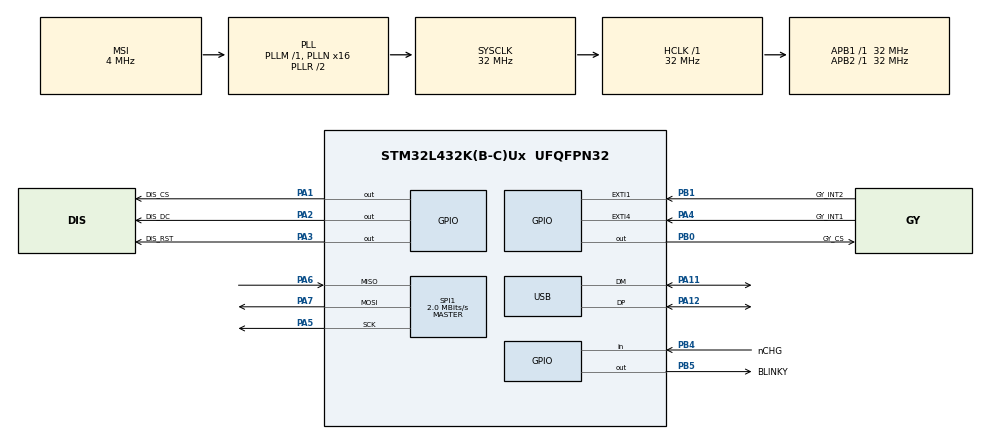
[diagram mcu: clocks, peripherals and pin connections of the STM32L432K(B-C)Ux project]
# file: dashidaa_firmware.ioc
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Dma.Request0=SPI1_RX
Dma.Request1=SPI1_TX
Dma.SPI1_RX.0.Direction=DMA_PERIPH_TO_MEMORY
Dma.SPI1_RX.0.Instance=DMA1_Channel2
Dma.SPI1_RX.0.MemDataAlignment=DMA_MDATAALIGN_BYTE
Dma.SPI1_RX.0.MemInc=DMA_MINC_ENABLE
Dma.SPI1_RX.0.Mode=DMA_NORMAL
Dma.SPI1_RX.0.PeriphDataAlignment=DMA_PDATAALIGN_BYTE
Dma.SPI1_RX.0.PeriphInc=DMA_PINC_DISABLE
Dma.SPI1_RX.0.Priority=DMA_PRIORITY_HIGH
Dma.SPI1_TX.1.Direction=DMA_MEMORY_TO_PERIPH
Dma.SPI1_TX.1.Instance=DMA1_Channel3
Dma.SPI1_TX.1.MemDataAlignment=DMA_MDATAALIGN_BYTE
Dma.SPI1_TX.1.MemInc=DMA_MINC_ENABLE
Dma.SPI1_TX.1.Mode=DMA_NORMAL
Dma.SPI1_TX.1.PeriphDataAlignment=DMA_PDATAALIGN_BYTE
Dma.SPI1_TX.1.PeriphInc=DMA_PINC_DISABLE
Dma.SPI1_TX.1.Priority=DMA_PRIORITY_HIGH
Mcu.Family=STM32L4
Mcu.Name=STM32L432K(B-C)Ux
Mcu.Package=UFQFPN32
NVIC.DMA1_Channel2_IRQn=true\:0\:0\:false\:false\:true\:false\:true\:true
NVIC.DMA1_Channel3_IRQn=true\:0\:0\:false\:false\:true\:false\:true\:true
NVIC.PriorityGroup=NVIC_PRIORITYGROUP_4
NVIC.USB_IRQn=true\:0\:0\:false\:false\:true\:false\:true\:true
PA1.GPIO_Label=DIS_CS
PA1.Signal=GPIO_Output
PA11.Mode=Device
PA11.Signal=USB_DM
PA12.Mode=Device
PA12.Signal=USB_DP
PA13\ (JTMS-SWDIO).Mode=Serial_Wire
PA13\ (JTMS-SWDIO).Signal=SYS_JTMS-SWDIO
PA14\ (JTCK-SWCLK).Mode=Serial_Wire
PA14\ (JTCK-SWCLK).Signal=SYS_JTCK-SWCLK
PA2.GPIO_Label=DIS_DC
PA2.Signal=GPIO_Output
PA3.GPIO_Label=DIS_RST
PA3.Signal=GPIO_Output
PA4.GPIO_Label=GY_INT1
PA4.Signal=GPXTI4
PA5.Mode=Full_Duplex_Master
PA5.Signal=SPI1_SCK
PA6.Mode=Full_Duplex_Master
PA6.Signal=SPI1_MISO
PA7.Mode=Full_Duplex_Master
PA7.Signal=SPI1_MOSI
PB0.GPIO_Label=GY_CS
PB0.Signal=GPIO_Output
PB1.GPIO_Label=GY_INT2
PB1.Signal=GPXTI1
PB4\ (NJTRST).GPIO_Label=nCHG
PB4\ (NJTRST).Signal=GPIO_Input
PB5.GPIO_Label=BLINKY
PB5.Signal=GPIO_Output
ProjectManager.HeapSize=0x200
ProjectManager.StackSize=0x400
ProjectManager.TargetToolchain=STM32CubeIDE
RCC.ADCFreq_Value=48000000
RCC.AHBFreq_Value=32000000
RCC.APB1Freq_Value=32000000
RCC.APB1TimFreq_Value=32000000
RCC.APB2Freq_Value=32000000
RCC.APB2TimFreq_Value=32000000
RCC.CK48CLockSelection=RCC_USBCLKSOURCE_HSI48
RCC.CodegenConfigPeriph=true
RCC.CortexFreq_Value=32000000
RCC.HCLKFreq_Value=32000000
RCC.HSE_VALUE=8000000
RCC.HSI48_VALUE=48000000
RCC.HSI_VALUE=16000000
RCC.LSE_VALUE=32768
RCC.MSI_VALUE=4000000
RCC.PLLN=16
RCC.PLLSAI1N=24
RCC.SYSCLKFreq_VALUE=32000000
RCC.SYSCLKSource=RCC_SYSCLKSOURCE_PLLCLK
RCC.USBFreq_Value=48000000
RCC.VCOOutputFreq_Value=64000000
SPI1.BaudRatePrescaler=SPI_BAUDRATEPRESCALER_16
SPI1.CLKPhase=SPI_PHASE_1EDGE
SPI1.CLKPolarity=SPI_POLARITY_LOW
SPI1.CalculateBaudRate=2.0 MBits/s
SPI1.DataSize=SPI_DATASIZE_8BIT
SPI1.Direction=SPI_DIRECTION_2LINES
SPI1.Mode=SPI_MODE_MASTER
SPI1.VirtualType=VM_MASTER
USB_DEVICE.CLASS_NAME_FS=CDC
USB_DEVICE.VirtualMode=Cdc
USB_DEVICE.VirtualModeFS=Cdc_FS
VP_TIM1_VS_ClockSourceINT.Mode=Internal
VP_USB_DEVICE_VS_USB_DEVICE_CDC_FS.Mode=CDC_FS
board=custom

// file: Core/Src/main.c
/* USER CODE BEGIN Header */
/**
  ******************************************************************************
  * @file           : main.c
  * @brief          : Main program body
  ******************************************************************************
  * @attention
  *
  * Copyright (c) 2025 STMicroelectronics.
  * All rights reserved.
  *
  * This software is licensed under terms that can be found in the LICENSE file
  * in the root directory of this software component.
  * If no LICENSE file comes with this software, it is provided AS-IS.
  *
  ******************************************************************************
  */
/* USER CODE END Header */
#include "main.h"
#include "usb_device.h"

/* USER CODE BEGIN PD */
#define ICM42760P_WHO_AM_I     0x75
#define ICM42760P_WHO_AM_I_VAL 0x67

#define GY_CS_LOW()		HAL_GPIO_WritePin(GY_CS_GPIO_Port,GY_CS_Pin , GPIO_PIN_RESET);
#define GY_CS_HIGH() 	HAL_GPIO_WritePin(GY_CS_GPIO_Port,GY_CS_Pin , GPIO_PIN_SET);

#define OLED_CS_LOW()   HAL_GPIO_WritePin(DIS_CS_GPIO_Port, DIS_CS_Pin, GPIO_PIN_RESET)
#define OLED_CS_HIGH()  HAL_GPIO_WritePin(DIS_CS_GPIO_Port, DIS_CS_Pin, GPIO_PIN_SET)
#define OLED_DC_LOW()   HAL_GPIO_WritePin(DIS_DC_GPIO_Port, DIS_DC_Pin, GPIO_PIN_RESET)
#define OLED_DC_HIGH()  HAL_GPIO_WritePin(DIS_DC_GPIO_Port, DIS_DC_Pin, GPIO_PIN_SET)
#define OLED_RESET_LOW() HAL_GPIO_WritePin(DIS_RST_GPIO_Port, DIS_RST_Pin, GPIO_PIN_RESET)
#define OLED_RESET_HIGH() HAL_GPIO_WritePin(DIS_RST_GPIO_Port, DIS_RST_Pin, GPIO_PIN_SET)

#define DISPLAY_WIDTH 128
#define DISPLAY_HEIGHT 128
/* USER CODE END PD */

SPI_HandleTypeDef hspi1;
DMA_HandleTypeDef hdma_spi1_rx;
DMA_HandleTypeDef hdma_spi1_tx;

TIM_HandleTypeDef htim1;

/* USER CODE BEGIN PV */
static uint16_t framebuffer[128*128];
uint8_t dma_done_flag;
/* USER CODE END PV */

void SystemClock_Config(void);
static void MX_GPIO_Init(void);
static void MX_DMA_Init(void);
static void MX_SPI1_Init(void);
static void MX_TIM1_Init(void);

/* USER CODE BEGIN 0 */

// IMU

static inline uint8_t icm_read(uint8_t reg){
    uint8_t txdata[2] = { reg | 0x80, 0x00};
    uint8_t rxdata[2];
    OLED_CS_LOW();
    GY_CS_LOW()
    dma_done_flag = 0;
    HAL_SPI_TransmitReceive_DMA(&hspi1, txdata, rxdata, 2);
    GY_CS_HIGH();
    return rxdata[1];
}

void check_icm(void){
    HAL_Delay(20); // wait for power-up
    char buffer[12];
    uint8_t id = icm_read(ICM42760P_WHO_AM_I);
    int len = snprintf(buffer, sizeof(buffer), "%d\r\n", id);
    USB_Print((uint8_t*)buffer);
}

// USB
void USB_Print(char *str) {
    CDC_Transmit_FS((uint8_t *)str, strlen(str));
}

// DISPLAY
void HAL_SPI_TxCpltCallback(SPI_HandleTypeDef *hspi) {
    if (hspi->Instance == SPI1) {
        // DMA done for SPI1 TX
        dma_done_flag = 1;
    }
}

void OLED_WriteReg(uint8_t cmd) {
    OLED_DC_LOW();
    OLED_CS_LOW();
    HAL_SPI_Transmit(&hspi1, &cmd, 1, HAL_MAX_DELAY);
    OLED_CS_HIGH();
}

void OLED_WriteData(uint8_t data) {
    OLED_DC_HIGH();
    OLED_CS_LOW();
    HAL_SPI_Transmit(&hspi1, &data, 1, HAL_MAX_DELAY);
    OLED_CS_HIGH();
}

void OLED_WriteDatas(uint8_t *data, uint16_t size) {
    OLED_DC_HIGH();
    OLED_CS_LOW();
    dma_done_flag = 0;
    HAL_SPI_Transmit_DMA(&hspi1, data, size);
    while (!dma_done_flag);
    OLED_CS_HIGH();
}

void OLED_Reset() {
    OLED_RESET_LOW();
    HAL_Delay(20);
    OLED_RESET_HIGH();
    HAL_Delay(20);
}

static void OLED_Init(void){
	OLED_Reset();
    OLED_WriteReg(0xfd);  // command lock
    OLED_WriteData(0x12);
    OLED_WriteReg(0xfd);  // command lock
    OLED_WriteData(0xB1);

    OLED_WriteReg(0xae);  // display off
    OLED_WriteReg(0xa4);  // Normal Display mode

    OLED_WriteReg(0x15);  //set column address
    OLED_WriteData(0x00);     //column address start 00
    OLED_WriteData(0x7f);     //column address end 127
    OLED_WriteReg(0x75);  //set row address
    OLED_WriteData(0x00);     //row address start 00
    OLED_WriteData(0x7f);     //row address end 127

    OLED_WriteReg(0xB3);
    OLED_WriteData(0xF1);

    OLED_WriteReg(0xCA);
    OLED_WriteData(0x7F);

    OLED_WriteReg(0xa0);  //set re-map & data format
    OLED_WriteData(0x74);     //Horizontal address increment

    OLED_WriteReg(0xa1);  //set display start line
    OLED_WriteData(0x00);     //start 00 line

    OLED_WriteReg(0xa2);  //set display offset
    OLED_WriteData(0x00);

    OLED_WriteReg(0xAB);
    OLED_WriteReg(0x01);

    OLED_WriteReg(0xB4);
    OLED_WriteData(0xA0);
    OLED_WriteData(0xB5);
    OLED_WriteData(0x55);

    OLED_WriteReg(0xC1);
    OLED_WriteData(0xC8);
    OLED_WriteData(0x80);
    OLED_WriteData(0xC0);

    OLED_WriteReg(0xC7);
    OLED_WriteData(0x0F);

    OLED_WriteReg(0xB1);
    OLED_WriteData(0x32);

    OLED_WriteReg(0xB2);
    OLED_WriteData(0xA4);
    OLED_WriteData(0x00);
    OLED_WriteData(0x00);

    OLED_WriteReg(0xBB);
    OLED_WriteData(0x17);

    OLED_WriteReg(0xB6);
    OLED_WriteData(0x01);

    OLED_WriteReg(0xBE);
    OLED_WriteData(0x05);

    OLED_WriteReg(0xA6);
    OLED_WriteReg(0xAF);
}

void OLED_SetAddrWindow(uint8_t x, uint8_t y, uint8_t w, uint8_t h)
{
    // SSD1351 uses inclusive end coordinates
    uint8_t x_start = x;
    uint8_t x_end   = x + w - 1;
    uint8_t y_start = y;
    uint8_t y_end   = y + h - 1;

    // Column address set
    OLED_WriteReg(0x15);
    OLED_WriteData(x_start);
    OLED_WriteData(x_end);

    // Row address set
    OLED_WriteReg(0x75);
    OLED_WriteData(y_start);
    OLED_WriteData(y_end);

    // Prepare to write RAM
    OLED_WriteReg(0x5C);
}

void OLED_DrawImage(uint8_t* image) {
	OLED_WriteReg(0x5C);
	OLED_WriteDatas(image, sizeof(uint16_t)*128*128);
}

/* USER CODE END 0 */

int main(void)
{

  /* USER CODE BEGIN 1 */
	int count = 0;
  /* USER CODE END 1 */

  /* MCU Configuration--------------------------------------------------------*/

  /* Reset of all peripherals, Initializes the Flash interface and the Systick. */
  HAL_Init();

  /* Configure the system clock */
  SystemClock_Config();

  /* Initialize all configured peripherals */
  MX_GPIO_Init();
  MX_DMA_Init();
  MX_USB_DEVICE_Init();
  MX_SPI1_Init();
  MX_TIM1_Init();
  /* USER CODE BEGIN 2 */
  OLED_Init();

  /* Infinite loop */
  while (1)
  {

    /* USER CODE BEGIN 3 */
	check_icm();

	HAL_GPIO_TogglePin(BLINKY_GPIO_Port, BLINKY_Pin);

	HAL_Delay(2000);

	for (int i = 0; i < 128*128; i++) framebuffer[i] = 0xF800; // Red test
	HAL_Delay(1000);
	OLED_DrawImage((uint8_t*)framebuffer);
  }
  /* USER CODE END 3 */
}

void SystemClock_Config(void)
{
  RCC_OscInitTypeDef RCC_OscInitStruct = {0};
  RCC_ClkInitTypeDef RCC_ClkInitStruct = {0};

  /** Configure the main internal regulator output voltage
  */
  if (HAL_PWREx_ControlVoltageScaling(PWR_REGULATOR_VOLTAGE_SCALE1) != HAL_OK)
  {
    Error_Handler();
  }

  /** Initializes the RCC Oscillators according to the specified parameters
  * in the RCC_OscInitTypeDef structure.
  */
  RCC_OscInitStruct.OscillatorType = RCC_OSCILLATORTYPE_HSI48|RCC_OSCILLATORTYPE_MSI;
  RCC_OscInitStruct.HSI48State = RCC_HSI48_ON;
  RCC_OscInitStruct.MSIState = RCC_MSI_ON;
  RCC_OscInitStruct.MSICalibrationValue = 0;
  RCC_OscInitStruct.MSIClockRange = RCC_MSIRANGE_6;
  RCC_OscInitStruct.PLL.PLLState = RCC_PLL_ON;
  RCC_OscInitStruct.PLL.PLLSource = RCC_PLLSOURCE_MSI;
  RCC_OscInitStruct.PLL.PLLM = 1;
  RCC_OscInitStruct.PLL.PLLN = 16;
  RCC_OscInitStruct.PLL.PLLP = RCC_PLLP_DIV7;
  RCC_OscInitStruct.PLL.PLLQ = RCC_PLLQ_DIV2;
  RCC_OscInitStruct.PLL.PLLR = RCC_PLLR_DIV2;
  if (HAL_RCC_OscConfig(&RCC_OscInitStruct) != HAL_OK)
  {
    Error_Handler();
  }

  /** Initializes the CPU, AHB and APB buses clocks
  */
  RCC_ClkInitStruct.ClockType = RCC_CLOCKTYPE_HCLK|RCC_CLOCKTYPE_SYSCLK
                              |RCC_CLOCKTYPE_PCLK1|RCC_CLOCKTYPE_PCLK2;
  RCC_ClkInitStruct.SYSCLKSource = RCC_SYSCLKSOURCE_PLLCLK;
  RCC_ClkInitStruct.AHBCLKDivider = RCC_SYSCLK_DIV1;
  RCC_ClkInitStruct.APB1CLKDivider = RCC_HCLK_DIV1;
  RCC_ClkInitStruct.APB2CLKDivider = RCC_HCLK_DIV1;

  if (HAL_RCC_ClockConfig(&RCC_ClkInitStruct, FLASH_LATENCY_1) != HAL_OK)
  {
    Error_Handler();
  }
}

static void MX_SPI1_Init(void)
{

  /* SPI1 parameter configuration*/
  hspi1.Instance = SPI1;
  hspi1.Init.Mode = SPI_MODE_MASTER;
  hspi1.Init.Direction = SPI_DIRECTION_2LINES;
  hspi1.Init.DataSize = SPI_DATASIZE_8BIT;
  hspi1.Init.CLKPolarity = SPI_POLARITY_LOW;
  hspi1.Init.CLKPhase = SPI_PHASE_1EDGE;
  hspi1.Init.NSS = SPI_NSS_SOFT;
  hspi1.Init.BaudRatePrescaler = SPI_BAUDRATEPRESCALER_16;
  hspi1.Init.FirstBit = SPI_FIRSTBIT_MSB;
  hspi1.Init.TIMode = SPI_TIMODE_DISABLE;
  hspi1.Init.CRCCalculation = SPI_CRCCALCULATION_DISABLE;
  hspi1.Init.CRCPolynomial = 7;
  hspi1.Init.CRCLength = SPI_CRC_LENGTH_DATASIZE;
  hspi1.Init.NSSPMode = SPI_NSS_PULSE_ENABLE;
  if (HAL_SPI_Init(&hspi1) != HAL_OK)
  {
    Error_Handler();
  }

}

static void MX_TIM1_Init(void)
{

  TIM_ClockConfigTypeDef sClockSourceConfig = {0};
  TIM_MasterConfigTypeDef sMasterConfig = {0};

  htim1.Instance = TIM1;
  htim1.Init.Prescaler = 0;
  htim1.Init.CounterMode = TIM_COUNTERMODE_UP;
  htim1.Init.Period = 65535;
  htim1.Init.ClockDivision = TIM_CLOCKDIVISION_DIV1;
  htim1.Init.RepetitionCounter = 0;
  htim1.Init.AutoReloadPreload = TIM_AUTORELOAD_PRELOAD_DISABLE;
  if (HAL_TIM_Base_Init(&htim1) != HAL_OK)
  {
    Error_Handler();
  }
  sClockSourceConfig.ClockSource = TIM_CLOCKSOURCE_INTERNAL;
  if (HAL_TIM_ConfigClockSource(&htim1, &sClockSourceConfig) != HAL_OK)
  {
    Error_Handler();
  }
  sMasterConfig.MasterOutputTrigger = TIM_TRGO_RESET;
  sMasterConfig.MasterOutputTrigger2 = TIM_TRGO2_RESET;
  sMasterConfig.MasterSlaveMode = TIM_MASTERSLAVEMODE_DISABLE;
  if (HAL_TIMEx_MasterConfigSynchronization(&htim1, &sMasterConfig) != HAL_OK)
  {
    Error_Handler();
  }

}

static void MX_DMA_Init(void)
{

  /* DMA controller clock enable */
  __HAL_RCC_DMA1_CLK_ENABLE();

  /* DMA interrupt init */
  /* DMA1_Channel2_IRQn interrupt configuration */
  HAL_NVIC_SetPriority(DMA1_Channel2_IRQn, 0, 0);
  HAL_NVIC_EnableIRQ(DMA1_Channel2_IRQn);
  /* DMA1_Channel3_IRQn interrupt configuration */
  HAL_NVIC_SetPriority(DMA1_Channel3_IRQn, 0, 0);
  HAL_NVIC_EnableIRQ(DMA1_Channel3_IRQn);

}

static void MX_GPIO_Init(void)
{
  GPIO_InitTypeDef GPIO_InitStruct = {0};

  /* GPIO Ports Clock Enable */
  __HAL_RCC_GPIOA_CLK_ENABLE();
  __HAL_RCC_GPIOB_CLK_ENABLE();

  /*Configure GPIO pin Output Level */
  HAL_GPIO_WritePin(GPIOA, DIS_CS_Pin|DIS_DC_Pin|DIS_RST_Pin, GPIO_PIN_RESET);

  /*Configure GPIO pin Output Level */
  HAL_GPIO_WritePin(GPIOB, GY_CS_Pin|BLINKY_Pin, GPIO_PIN_RESET);

  /*Configure GPIO pins : DIS_CS_Pin DIS_DC_Pin DIS_RST_Pin */
  GPIO_InitStruct.Pin = DIS_CS_Pin|DIS_DC_Pin|DIS_RST_Pin;
  GPIO_InitStruct.Mode = GPIO_MODE_OUTPUT_PP;
  GPIO_InitStruct.Pull = GPIO_NOPULL;
  GPIO_InitStruct.Speed = GPIO_SPEED_FREQ_LOW;
  HAL_GPIO_Init(GPIOA, &GPIO_InitStruct);

  /*Configure GPIO pin : GY_INT1_Pin */
  GPIO_InitStruct.Pin = GY_INT1_Pin;
  GPIO_InitStruct.Mode = GPIO_MODE_IT_RISING;
  GPIO_InitStruct.Pull = GPIO_NOPULL;
  HAL_GPIO_Init(GY_INT1_GPIO_Port, &GPIO_InitStruct);

  /*Configure GPIO pins : GY_CS_Pin BLINKY_Pin */
  GPIO_InitStruct.Pin = GY_CS_Pin|BLINKY_Pin;
  GPIO_InitStruct.Mode = GPIO_MODE_OUTPUT_PP;
  GPIO_InitStruct.Pull = GPIO_NOPULL;
  GPIO_InitStruct.Speed = GPIO_SPEED_FREQ_LOW;
  HAL_GPIO_Init(GPIOB, &GPIO_InitStruct);

  /*Configure GPIO pin : GY_INT2_Pin */
  GPIO_InitStruct.Pin = GY_INT2_Pin;
  GPIO_InitStruct.Mode = GPIO_MODE_IT_RISING;
  GPIO_InitStruct.Pull = GPIO_NOPULL;
  HAL_GPIO_Init(GY_INT2_GPIO_Port, &GPIO_InitStruct);

  /*Configure GPIO pin : nCHG_Pin */
  GPIO_InitStruct.Pin = nCHG_Pin;
  GPIO_InitStruct.Mode = GPIO_MODE_INPUT;
  GPIO_InitStruct.Pull = GPIO_NOPULL;
  HAL_GPIO_Init(nCHG_GPIO_Port, &GPIO_InitStruct);

}

void Error_Handler(void)
{
  __disable_irq();
  while (1)
  {
  }
}
